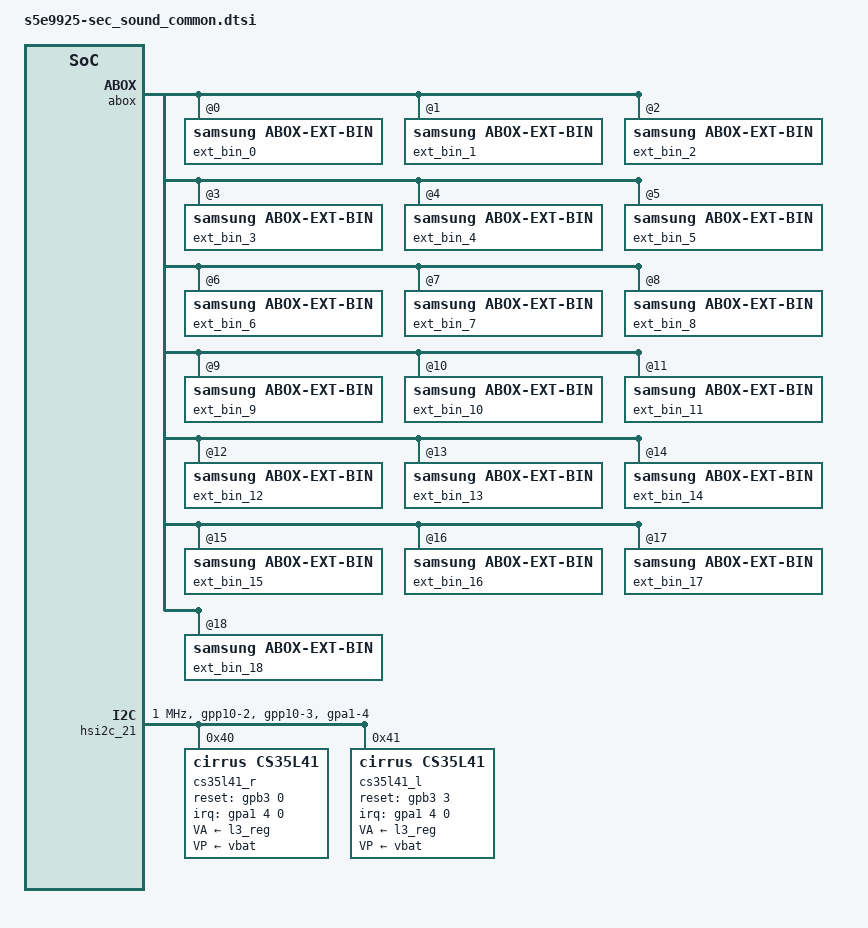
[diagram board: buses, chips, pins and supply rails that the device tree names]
/*
 * SAMSUNG S5E9925 SoC device tree source
 *
 * Copyright (c) 2020 Samsung Electronics Co., Ltd.
 *             http://www.samsung.com
 *
 * SAMSUNG S5E9925 SoC device nodes are listed in this file.
 * EXYNOS based board files can include this file and provide
 * values for board specfic bindings.
 *
 * This program is free software; you can redistribute it and/or modify
 * it under the terms of the GNU General Public License version 2 as
 * published by the Free Software Foundation.
 */


/ {
	fragment@model {
		target-path = "/";
		__overlay__ {
			dummy_audio_codec: audio-codec-dummy {
				compatible = "snd-soc-dummy";
				#sound-dai-cells = <0>;
			};

			dummy_audio_cpu: audio-cpu-dummy {
				compatible = "samsung,dummy-cpu";
				#sound-dai-cells = <0>;
			};

			cirrus_amps {
				compatible = "cirrus-amp";
				cirrus,num-amps = <2>;
				cirrus,amps = <&cs35l41_r &cs35l41_l>;
			};

			sound {
				compatible = "samsung,rainbow-prince";

				clock-names = "xclkout";
				clocks = <&clock OSC_AUD>;

				MICBIAS1-supply = <&l26_reg>;
				MICBIAS2-supply = <&l26_reg>;
				MICBIAS3-supply = <&l26_reg>;

				/* Trick for probe order with dp_dma */
				dmas = <&dp_dma0 &dp_dma1>;

				samsung,routing =
					"DMIC1", "MICBIAS1",
					"DMIC2", "MICBIAS2",
					"DMIC3", "MICBIAS3",
					"RECEIVER", "Left AMP SPK",
					"SPEAKER", "Right AMP SPK",
					"VOUTPUT", "ABOX UAIF0 Playback",
					"HAPTIC SPK", "ABOX UAIF0 Playback",
					"ABOX UAIF0 Capture", "VINPUT1",
					"BLUETOOTH SPK", "ABOX UAIF2 Playback",
					"ABOX UAIF2 Capture", "BLUETOOTH MIC",
					"USB SPK", "ABOX USB Playback",
					"ABOX USB Capture", "USB MIC",
					"FWD SPK", "ABOX FWD Playback",
					"ABOX FWD Capture", "FWD MIC",
					"VTS Virtual Output", "VTS Virtual Output Mux",
					"PAD DPDM", "DMIC1",
					"PAD DPDM", "DMIC2",
					"PAD DPDM", "DMIC3";

				samsung,codec = <&cs35l41_l &cs35l41_r>;
				samsung,prefix = "Left", "Right";
				samsung,aux = <&abox_effect &abox_tplg>;

				rdma0 {
					cpu {
						sound-dai = <&abox_rdma_0 0>;
					};
					platform {
						sound-dai = <&abox_rdma_0 0>;
					};
				};
				rdma1 {
					cpu {
						sound-dai = <&abox_rdma_1 0>;
					};
					platform {
						sound-dai = <&abox_rdma_1 0>;
					};
				};
				rdma2 {
					cpu {
						sound-dai = <&abox_rdma_2 0>;
					};
					platform {
						sound-dai = <&abox_rdma_2 0>;
					};
				};
				rdma3 {
					cpu {
						sound-dai = <&abox_rdma_3 0>;
					};
					platform {
						sound-dai = <&abox_rdma_3 0>;
					};
				};
				rdma4 {
					cpu {
						sound-dai = <&abox_rdma_4 0>;
					};
					platform {
						sound-dai = <&abox_rdma_4 0>;
					};
				};
				rdma5 {
					cpu {
						sound-dai = <&abox_rdma_5 0>;
					};
					platform {
						sound-dai = <&abox_rdma_5 0>;
					};
				};
				rdma6 {
					cpu {
						sound-dai = <&abox_rdma_6 0>;
					};
					platform {
						sound-dai = <&abox_rdma_6 0>;
					};
				};
				rdma7 {
					cpu {
						sound-dai = <&abox_rdma_7 0>;
					};
					platform {
						sound-dai = <&abox_rdma_7 0>;
					};
				};
				rdma8 {
					cpu {
						sound-dai = <&abox_rdma_8 0>;
					};
					platform {
						sound-dai = <&abox_rdma_8 0>;
					};
				};
				rdma9 {
					cpu {
						sound-dai = <&abox_rdma_9 0>;
					};
					platform {
						sound-dai = <&abox_rdma_9 0>;
					};
				};
				rdma10 {
					cpu {
						sound-dai = <&abox_rdma_10 0>;
					};
					platform {
						sound-dai = <&abox_rdma_10 0>;
					};
				};
				rdma11 {
					cpu {
						sound-dai = <&abox_rdma_11 0>;
					};
					platform {
						sound-dai = <&abox_rdma_11 0>;
					};
				};
				wdma0 {
					cpu {
						sound-dai = <&abox_wdma_0 0>;
					};
					platform {
						sound-dai = <&abox_wdma_0 0>;
					};
				};
				wdma1 {
					cpu {
						sound-dai = <&abox_wdma_1 0>;
					};
					platform {
						sound-dai = <&abox_wdma_1 0>;
					};
				};
				wdma2 {
					cpu {
						sound-dai = <&abox_wdma_2 0>;
					};
					platform {
						sound-dai = <&abox_wdma_2 0>;
					};
				};
				wdma3 {
					cpu {
						sound-dai = <&abox_wdma_3 0>;
					};
					platform {
						sound-dai = <&abox_wdma_3 0>;
					};
				};
				wdma4 {
					cpu {
						sound-dai = <&abox_wdma_4 0>;
					};
					platform {
						sound-dai = <&abox_wdma_4 0>;
					};
				};
				wdma5 {
					cpu {
						sound-dai = <&abox_wdma_5 0>;
					};
					platform {
						sound-dai = <&abox_wdma_5 0>;
					};
				};
				wdma6 {
					cpu {
						sound-dai = <&abox_wdma_6 0>;
					};
					platform {
						sound-dai = <&abox_wdma_6 0>;
					};
				};
				wdma7 {
					cpu {
						sound-dai = <&abox_wdma_7 0>;
					};
					platform {
						sound-dai = <&abox_wdma_7 0>;
					};
				};
				wdma8 {
					cpu {
						sound-dai = <&abox_wdma_8 0>;
					};
					platform {
						sound-dai = <&abox_wdma_8 0>;
					};
				};
				wdma9 {
					cpu {
						sound-dai = <&abox_wdma_9 0>;
					};
					platform {
						sound-dai = <&abox_wdma_9 0>;
					};
				};
				wdma10 {
					cpu {
						sound-dai = <&abox_wdma_10 0>;
					};
					platform {
						sound-dai = <&abox_wdma_10 0>;
					};
				};
				wdma11 {
					cpu {
						sound-dai = <&abox_wdma_11 0>;
					};
					platform {
						sound-dai = <&abox_wdma_11 0>;
					};
				};
				vts0 {
					cpu {
						sound-dai = <&vts 0>;
					};
					platform {
						sound-dai = <&vts_dma0>;
					};
				};
				vts1 {
					cpu {
						sound-dai = <&vts 1>;
					};
					platform {
						sound-dai = <&vts_dma1>;
					};
				};
				dp0_audio {
					cpu {
						sound-dai = <&displayport_adma 0>;
					};
					platform {
						sound-dai = <&dp_dma0>;
					};
				};
				dp1_audio {
					cpu {
						sound-dai = <&displayport_adma 1 >;
					};
					platform {
						sound-dai = <&dp_dma1>;
					};
				};
				dual0 {
					cpu {
						sound-dai = <&abox_dual_0>;
					};
					platform {
						sound-dai = <&abox_dual_0>;
					};
				};
				dual1 {
					cpu {
						sound-dai = <&abox_dual_1>;
					};
					platform {
						sound-dai = <&abox_dual_1>;
					};
				};
				dual2 {
					cpu {
						sound-dai = <&abox_dual_2>;
					};
					platform {
						sound-dai = <&abox_dual_2>;
					};
				};
				dual3 {
					cpu {
						sound-dai = <&abox_dual_3>;
					};
					platform {
						sound-dai = <&abox_dual_3>;
					};
				};
				dual4 {
					cpu {
						sound-dai = <&abox_dual_4>;
					};
					platform {
						sound-dai = <&abox_dual_4>;
					};
				};
				dual5 {
					cpu {
						sound-dai = <&abox_dual_5>;
					};
					platform {
						sound-dai = <&abox_dual_5>;
					};
				};
				dual6 {
					cpu {
						sound-dai = <&abox_dual_6>;
					};
					platform {
						sound-dai = <&abox_dual_6>;
					};
				};
				dual7 {
					cpu {
						sound-dai = <&abox_dual_7>;
					};
					platform {
						sound-dai = <&abox_dual_7>;
					};
				};
				dual8 {
					cpu {
						sound-dai = <&abox_dual_8>;
					};
					platform {
						sound-dai = <&abox_dual_8>;
					};
				};
				dual9 {
					cpu {
						sound-dai = <&abox_dual_9>;
					};
					platform {
						sound-dai = <&abox_dual_9>;
					};
				};
				dual10 {
					cpu {
						sound-dai = <&abox_dual_10>;
					};
					platform {
						sound-dai = <&abox_dual_10>;
					};
				};
				dual11 {
					cpu {
						sound-dai = <&abox_dual_11>;
					};
					platform {
						sound-dai = <&abox_dual_11>;
					};
				};
				ddma0 {
					cpu {
						sound-dai = <&abox_ddma_0>;
					};
					platform {
						sound-dai = <&abox_ddma_0>;
					};
				};
				ddma1 {
					cpu {
						sound-dai = <&abox_ddma_1>;
					};
					platform {
						sound-dai = <&abox_ddma_1>;
					};
				};
				ddma2 {
					cpu {
						sound-dai = <&abox_ddma_2>;
					};
					platform {
						sound-dai = <&abox_ddma_2>;
					};
				};
				ddma3 {
					cpu {
						sound-dai = <&abox_ddma_3>;
					};
					platform {
						sound-dai = <&abox_ddma_3>;
					};
				};
				ddma4 {
					cpu {
						sound-dai = <&abox_ddma_4>;
					};
					platform {
						sound-dai = <&abox_ddma_4>;
					};
				};
				ddma5 {
					cpu {
						sound-dai = <&abox_ddma_5>;
					};
					platform {
						sound-dai = <&abox_ddma_5>;
					};
				};
				uaif0 {
					format = "dsp_a";
					cpu {
						sound-dai = <&abox_uaif_0>;
					};
					codec {
						sound-dai = <&cs40l26a 0>;
					};
				};
				uaif1 {
					format = "dsp_a";
					cpu {
						sound-dai = <&abox_uaif_1>;
					};
					codec {
						sound-dai = <&cs35l41_l 0 &cs35l41_r 0>;
					};
				};
				uaif2 {
					format = "i2s";
					cpu {
						sound-dai = <&abox_uaif_2>;
					};
				};
				uaif3 {
					format = "i2s";
					cpu {
						sound-dai = <&abox_uaif_3>;
					};
				};
				uaif4 {
					format = "i2s";
					cpu {
						sound-dai = <&abox_uaif_4>;
					};
				};
				uaif5 {
					format = "dsp_a";
					cpu {
						sound-dai = <&abox_uaif_5>;
					};
				};
				uaif6 {
					format = "dsp_a";
					bitclock-master;
					bitclock-inversion;
					frame-master;

					cpu {
						sound-dai = <&abox_uaif_6>;
					};
					codec {
						sound-dai = <&vts_s_lif 0>;
					};
				};
				dsif0 {
					format = "pdm";
					cpu {
						sound-dai = <&abox_dsif>;
					};
				};
				udma_rd0 {
					cpu {
						sound-dai = <&abox_udma_rd_0>;
					};
				};
				udma_rd1 {
					cpu {
						sound-dai = <&abox_udma_rd_1>;
					};
				};
				udma_wr0 {
					cpu {
						sound-dai = <&abox_udma_wr_0>;
					};
				};
				udma_wr1 {
					cpu {
						sound-dai = <&abox_udma_wr_1>;
					};
				};
				udma_wr_dual0 {
					cpu {
						sound-dai = <&abox_udma_wr_dual_0>;
					};
				};
				udma_wr_dual1 {
					cpu {
						sound-dai = <&abox_udma_wr_dual_1>;
					};
				};
				udma_wr_dbg0 {
					cpu {
						sound-dai = <&abox_udma_wr_debug_0>;
					};
				};
				rdma0_be {
					cpu {
						sound-dai = <&abox_rdma_0 1>;
					};
					platform {
						sound-dai = <&abox_rdma_0 1>;
					};
				};
				rdma1_be {
					cpu {
						sound-dai = <&abox_rdma_1 1>;
					};
					platform {
						sound-dai = <&abox_rdma_1 1>;
					};
				};
				rdma2_be {
					cpu {
						sound-dai = <&abox_rdma_2 1>;
					};
					platform {
						sound-dai = <&abox_rdma_2 1>;
					};
				};
				rdma3_be {
					cpu {
						sound-dai = <&abox_rdma_3 1>;
					};
					platform {
						sound-dai = <&abox_rdma_3 1>;
					};
				};
				rdma4_be {
					cpu {
						sound-dai = <&abox_rdma_4 1>;
					};
					platform {
						sound-dai = <&abox_rdma_4 1>;
					};
				};
				rdma5_be {
					cpu {
						sound-dai = <&abox_rdma_5 1>;
					};
					platform {
						sound-dai = <&abox_rdma_5 1>;
					};
				};
				rdma6_be {
					cpu {
						sound-dai = <&abox_rdma_6 1>;
					};
					platform {
						sound-dai = <&abox_rdma_6 1>;
					};
				};
				rdma7_be {
					cpu {
						sound-dai = <&abox_rdma_7 1>;
					};
					platform {
						sound-dai = <&abox_rdma_7 1>;
					};
				};
				rdma8_be {
					cpu {
						sound-dai = <&abox_rdma_8 1>;
					};
					platform {
						sound-dai = <&abox_rdma_8 1>;
					};
				};
				rdma9_be {
					cpu {
						sound-dai = <&abox_rdma_9 1>;
					};
					platform {
						sound-dai = <&abox_rdma_9 1>;
					};
				};
				rdma10_be {
					cpu {
						sound-dai = <&abox_rdma_10 1>;
					};
					platform {
						sound-dai = <&abox_rdma_10 1>;
					};
				};
				rdma11_be {
					cpu {
						sound-dai = <&abox_rdma_11 1>;
					};
					platform {
						sound-dai = <&abox_rdma_11 1>;
					};
				};
				wdma0_be {
					cpu {
						sound-dai = <&abox_wdma_0 1>;
					};
					platform {
						sound-dai = <&abox_wdma_0 1>;
					};
				};
				wdma1_be {
					cpu {
						sound-dai = <&abox_wdma_1 1>;
					};
					platform {
						sound-dai = <&abox_wdma_1 1>;
					};
				};
				wdma2_be {
					cpu {
						sound-dai = <&abox_wdma_2 1>;
					};
					platform {
						sound-dai = <&abox_wdma_2 1>;
					};
				};
				wdma3_be {
					cpu {
						sound-dai = <&abox_wdma_3 1>;
					};
					platform {
						sound-dai = <&abox_wdma_3 1>;
					};
				};
				wdma4_be {
					cpu {
						sound-dai = <&abox_wdma_4 1>;
					};
					platform {
						sound-dai = <&abox_wdma_4 1>;
					};
				};
				wdma5_be {
					cpu {
						sound-dai = <&abox_wdma_5 1>;
					};
					platform {
						sound-dai = <&abox_wdma_5 1>;
					};
				};
				wdma6_be {
					cpu {
						sound-dai = <&abox_wdma_6 1>;
					};
					platform {
						sound-dai = <&abox_wdma_6 1>;
					};
				};
				wdma7_be {
					cpu {
						sound-dai = <&abox_wdma_7 1>;
					};
					platform {
						sound-dai = <&abox_wdma_7 1>;
					};
				};
				wdma8_be {
					cpu {
						sound-dai = <&abox_wdma_8 1>;
					};
					platform {
						sound-dai = <&abox_wdma_8 1>;
					};
				};
				wdma9_be {
					cpu {
						sound-dai = <&abox_wdma_9 1>;
					};
					platform {
						sound-dai = <&abox_wdma_9 1>;
					};
				};
				wdma10_be {
					cpu {
						sound-dai = <&abox_wdma_10 1>;
					};
					platform {
						sound-dai = <&abox_wdma_10 1>;
					};
				};
				wdma11_be {
					cpu {
						sound-dai = <&abox_wdma_11 1>;
					};
					platform {
						sound-dai = <&abox_wdma_11 1>;
					};
				};
				usb {
					cpu {
						sound-dai = <&abox 0>;
					};
				};
				fwd {
					cpu {
						sound-dai = <&abox 1>;
					};
				};
			}; /* end of sound */

			sec-audio-sysfs {
				compatible = "samsung,audio-sysfs";
				status = "okay";
				audio,no-earjack;
				audio,num-amp = <2>;
			};

			sec-audio-debug {
				compatible = "samsung,audio-debug";
				status = "okay";
				abox_dbg_size_min = <0x600000>;
				abox_slog_size_min = <0x0>;
			};
		}; /* end of __overlay__ */
	}; /* end of fragment */
}; /* end of root */

&abox {
	ext_bin_0: ext-bin@0 {
		compatible = "samsung,abox-ext-bin";
		samsung,name = "dax_param.bin";
		samsung,area = <1>;
		samsung,offset = <0x510000>;
		samsung,changable;
	};

	ext_bin_1: ext-bin@1 {
		compatible = "samsung,abox-ext-bin";
		samsung,name = "AP_AUDIO_SLSI.bin";
		samsung,area = <1>;
		samsung,offset = <0x52e000>;
		samsung,changable;
	};

	ext_bin_2: ext-bin@2 {
		compatible = "samsung,abox-ext-bin";
		samsung,name = "APBargeIn_AUDIO_SLSI.bin";
		samsung,area = <1>;
		samsung,offset = <0x5da800>;
		samsung,changable;
	};

	ext_bin_3: ext-bin@3 {
		compatible = "samsung,abox-ext-bin";
		samsung,name = "APBiBF_AUDIO_SLSI.bin";
		samsung,area = <1>;
		samsung,offset = <0x5dd800>;
		samsung,changable;
	};

	ext_bin_4: ext-bin@4 {
		compatible = "samsung,abox-ext-bin";
		samsung,name = "APDV_AUDIO_SLSI.bin";
		samsung,area = <1>;
		samsung,offset = <0x5de800>;
		samsung,changable;
	};

	ext_bin_5: ext-bin@5 {
		compatible = "samsung,abox-ext-bin";
		samsung,name = "SoundBoosterParam.bin";
		samsung,area = <1>;
		samsung,offset = <0x65e800>;
		samsung,changable;
	};

	ext_bin_6: ext-bin@6 {
		compatible = "samsung,abox-ext-bin";
		samsung,name = "atune.bin";
		samsung,area = <1>;
		samsung,offset = <0x662800>;
		samsung,changable;
	};

	ext_bin_7: ext-bin@7 {
		compatible = "samsung,abox-ext-bin";
		samsung,name = "rxse.bin";
		samsung,area = <1>;
		samsung,offset = <0x6c5000>;
	};

	ext_bin_8: ext-bin@8 {
		compatible = "samsung,abox-ext-bin";
		samsung,name = "avsyncmix.bin";
		samsung,area = <1>;
		samsung,offset = <0x7b7800>;
	};

	ext_bin_9: ext-bin@9 {
		compatible = "samsung,abox-ext-bin";
		samsung,name = "txse1.bin";
		samsung,area = <1>;
		samsung,offset = <0x1800000>;
	};

	ext_bin_10: ext-bin@10 {
		compatible = "samsung,abox-ext-bin";
		samsung,name = "txse2.bin";
		samsung,area = <1>;
		samsung,offset = <0x1e00000>;
	};

	ext_bin_11: ext-bin@11 {
		compatible = "samsung,abox-ext-bin";
		samsung,name = "bidirmic.bin";
		samsung,area = <1>;
		samsung,offset = <0x1e72800>;
	};

	ext_bin_12: ext-bin@12 {
		compatible = "samsung,abox-ext-bin";
		samsung,name = "volumemonitor.bin";
		samsung,area = <1>;
		samsung,offset = <0x1f27800>;
	};

	ext_bin_13: ext-bin@13 {
		compatible = "samsung,abox-ext-bin";
		samsung,name = "sb_others.bin";
		samsung,area = <1>;
		samsung,offset = <0x1f40800>;
	};

	ext_bin_14: ext-bin@14 {
		compatible = "samsung,abox-ext-bin";
		samsung,name = "listenbackeffect.bin";
		samsung,area = <1>;
		samsung,offset = <0x206c800>;
	};

	ext_bin_15: ext-bin@15 {
		compatible = "samsung,abox-ext-bin";
		samsung,name = "a2dpcom.bin";
		samsung,area = <1>;
		samsung,offset = <0x20d0800>;
	};

	ext_bin_16: ext-bin@16 {
		compatible = "samsung,abox-ext-bin";
		samsung,name = "dolby.bin";
		samsung,area = <1>;
		samsung,offset = <0x2c0000>;
	};

	ext_bin_17: ext-bin@17 {
		compatible = "samsung,abox-ext-bin";
		samsung,name = "sb_music.bin";
		samsung,area = <1>;
		samsung,offset = <0x2250800>;
	};

	ext_bin_18: ext-bin@18 {
		compatible = "samsung,abox-ext-bin";
		samsung,name = "Cal360.bin";
		samsung,area = <1>;
		samsung,offset = <0x684800>;
	};
};

&abox_uaif_3 {
	pinctrl-names;
};

&pinctrl_0 {
	spk_amp_int: spk-amp-int {
		samsung,pins = "gpa1-4";
		samsung,pin-function = <0xf>;
		samsung,pin-pud = <0>;
		samsung,pin-drv = <0>;
	};
};

&pinctrl_5 {
	cs35l41_r_reset: cs35l41-r-reset {
		samsung,pins ="gpb3-0";
		samsung,pin-function = <1>;
		samsung,pin-pud = <0>;
		samsung,pin-val = <1>;
		samsung,pin-con-pdn =<3>;
		samsung,pin-pud-pdn = <0>;
	};
	cs35l41_l_reset: cs35l41-l-reset {
		samsung,pins ="gpb3-3";
		samsung,pin-function = <1>;
		samsung,pin-pud = <0>;
		samsung,pin-val = <1>;
		samsung,pin-con-pdn =<3>;
		samsung,pin-pud-pdn = <0>;
	};
};

&pinctrl_6 {
	hsi2c21_amp_bus: hsi2c21-amp-bus {
		samsung,pins = "gpp10-2", "gpp10-3";
		samsung,pin-function = <3>;
		samsung,pin-val = <0>;
		samsung,pin-pud = <0>;
		samsung,pin-pud-pdn = <0>;
	};
};

&hsi2c_21 {
	#address-cells = <1>;
	#size-cells = <0>;
	status = "okay";
	clock-frequency = <1000000>;
	samsung,i2c-timeout-ms = <2000>;
	samsung,use-all-core;
	pinctrl-names = "default";
	pinctrl-0 = <&hsi2c21_amp_bus &spk_amp_int>;

	cs35l41_r: cs35l41@40 {
		#sound-dai-cells = <1>;
		compatible = "cirrus,cs35l41";
		reg = <0x40>;
		interrupt-parent = <&gpa1>;
		interrupts = <4 0 0>;
		pinctrl-names = "default";
		pinctrl-0 = <&cs35l41_r_reset>;
		reset-gpios = <&gpb3 0 0>;
		VA-supply = <&l3_reg>;
		VP-supply = <&vbat>;

		cirrus,dsp-part-name = "cs35l40-bot";
		cirrus,right-channel-amp;
		cirrus,mfd-suffix = "_r";
		cirrus,bd-suffix = "_1";
		cirrus,use-fsync-errata;
		cirrus,bd-max-temp = <110>;

		cirrus,asp-sdout-hiz = <0x3>;

		cirrus,dsp-noise-gate-enable;
		cirrus,dsp-noise-gate-delay = <0x4>;
		cirrus,dsp-noise-gate-threshold = <0x6>;

		cirrus,hw-noise-gate-select = <0x3F>;
		cirrus,hw-noise-gate-delay = <0x4>;
		cirrus,hw-noise-gate-threshold = <0x6>;

		cirrus,boost-peak-milliamp = <4100>;

		cirrus,classh-internal-algo {
			cirrus,classh-headroom = <0xb>;
			cirrus,classh-release-rate = <0x4>;
			cirrus,classh-mem-depth = <0x5>;
			cirrus,classh-wk-fet-delay = <0x4>;
			cirrus,classh-wk-fet-thld = <0x1>;
		};

		cirrus,gpio-config2 {
			cirrus,gpio-src-select = <0x2>;
			cirrus,gpio-output-enable;
		};

		cirrus,pwr-params {
			/* cirrus,pwr-global-enable; */
			cirrus,pwr-target-temp = <3700>;
			cirrus,pwr-exit-temp = <3600>;
		};
	};

	cs35l41_l: cs35l41@41 {
		#sound-dai-cells = <1>;
		compatible = "cirrus,cs35l41";
		reg = <0x41>;
		interrupt-parent = <&gpa1>;
		interrupts = <4 0 0>;
		pinctrl-names = "default";
		pinctrl-0 = <&cs35l41_l_reset>;
		reset-gpios = <&gpb3 3 0>;
		VA-supply = <&l3_reg>;
		VP-supply = <&vbat>;

		cirrus,dsp-part-name = "cs35l40-rcv";
		cirrus,mfd-suffix = "";
		cirrus,bd-suffix = "_0";
		cirrus,use-fsync-errata;
		cirrus,bd-max-temp = <100>;

		cirrus,asp-sdout-hiz = <0x3>;

		cirrus,dsp-noise-gate-enable;
		cirrus,dsp-noise-gate-delay = <0x4>;
		cirrus,dsp-noise-gate-threshold = <0x6>;

		cirrus,hw-noise-gate-select = <0x3F>;
		cirrus,hw-noise-gate-delay = <0x4>;
		cirrus,hw-noise-gate-threshold = <0x6>;

		cirrus,boost-peak-milliamp = <4100>;

		cirrus,classh-internal-algo {
			cirrus,classh-headroom = <0xb>;
			cirrus,classh-release-rate = <0x4>;
			cirrus,classh-mem-depth = <0x5>;
			cirrus,classh-wk-fet-delay = <0x4>;
			cirrus,classh-wk-fet-thld = <0x1>;
		};

		cirrus,gpio-config2 {
			cirrus,gpio-src-select = <0x2>;
			cirrus,gpio-output-enable;
		};

		cirrus,pwr-params {
			/* cirrus,pwr-global-enable; */
			cirrus,pwr-target-temp = <3900>;
			cirrus,pwr-exit-temp = <3800>;
		};
	};
};
